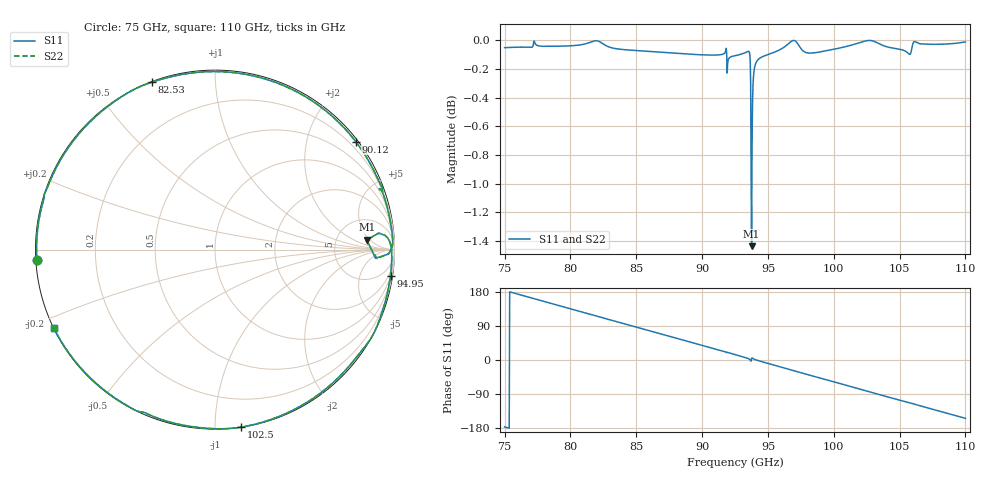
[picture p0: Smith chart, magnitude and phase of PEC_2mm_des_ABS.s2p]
! TOUCHSTONE file generated by CST MICROWAVE STUDIO
! Date and time: Wed Feb  7 22:17:31 2024
! Project name: metal_desal.cst
! Header version: 2018
! Port assignment regex: !\s*Touchstone port\s*([0-9]+)\s*=\s*(CST MWS port|CST DS port)\s*([0-9]+|Zmin|Zmax)\s*\(\"(.*)\"\)(\s*mode\s*([0-9]+))?.*
! Touchstone port assignment:
! Touchstone port 1 = CST MWS port 1 ("")
! Touchstone port 2 = CST MWS port 2 ("")
# GHz S MA R 376.7
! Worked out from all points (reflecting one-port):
!   1001 points, 75 GHz to 110 GHz, reference 376.7 ohm
!   lowest |S11| = -1.4 dB at 93.76 GHz (marker M1), VSWR 12.11, Z = 3.93e+03 + j1.57e+03 ohm
!   phase of S11 starts at -177 deg and turns -337 deg over the sweep
!   S11 on the Smith chart (normalised r, x): 75 GHz: 0.00, -0.03; 82.53 GHz: 0.00, +0.69; 90.12 GHz: 0.06, +2.95; 94.95 GHz: 1, -13; 102.5 GHz: 0.00, -1.16; 110 GHz: 0.00, -0.23
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75  0.9942 -176.5  0 0.0  0 0.0  0.9942 -176.6
76.4  0.9946 170.0  3.479e-65 -179.9  3.479e-65 -179.9  0.9946 170.0
77.8  0.9954 156.5  3.183e-65 -179.9  3.183e-65 -179.9  0.9954 156.5
80.845  0.9966 127.2  2.691e-65 -179.7  2.691e-65 -179.7  0.9966 127.2
82.525  0.9969 110.6  2.495e-65 -179.7  2.495e-65 -179.7  0.997 110.6
84.625  0.9922 90.5  2.2e-65 -179.7  2.2e-65 -179.7  0.9922 90.5
86.69  0.9907 70.6  1.903e-65 -179.7  1.903e-65 -179.7  0.9907 70.6
88.335  0.9895 54.7  1.604e-65 -179.8  1.604e-65 -179.8  0.9895 54.7
90.12  0.9885 37.5  1.305e-65 -179.8  1.305e-65 -179.8  0.9884 37.5
92.5  0.9878 14.5  0 0.0  0 0.0  0.9879 14.6
93.48  0.9912 4.2  7.029e-66 -180.0  7.029e-66 -180.0  0.9913 4.2
93.76  0.8474 3.8  0 0.0  0 0.0  0.8434 3.3
93.935  0.9749 2.5  1.004e-65 0.0  1.004e-65 0.0  0.9748 2.6
94.95  0.9885 -8.4  1.205e-65 -0.0  1.205e-65 -0.0  0.9885 -8.4
96.7  0.9986 -25.6  1.606e-65 -0.1  1.606e-65 -0.1  0.9986 -25.5
98.345  0.9899 -41.7  1.805e-65 -0.1  1.805e-65 -0.1  0.99 -41.7
100.48  0.994 -62.1  2.304e-65 -0.2  2.304e-65 -0.2  0.9939 -62.1
102.475  0.9997 -81.5  2.601e-65 -0.2  2.601e-65 -0.2  0.9997 -81.5
104.19  0.9945 -98.3  2.799e-65 -0.2  2.799e-65 -0.2  0.9946 -98.3
106.85  0.9972 -123.7  3.294e-65 -0.2  3.294e-65 -0.2  0.9975 -123.6
108.53  0.9971 -139.8  3.492e-65 -0.1  3.492e-65 -0.1  0.9972 -139.8
110  0.9988 -153.9  0 0.0  0 0.0  0.9989 -153.9
